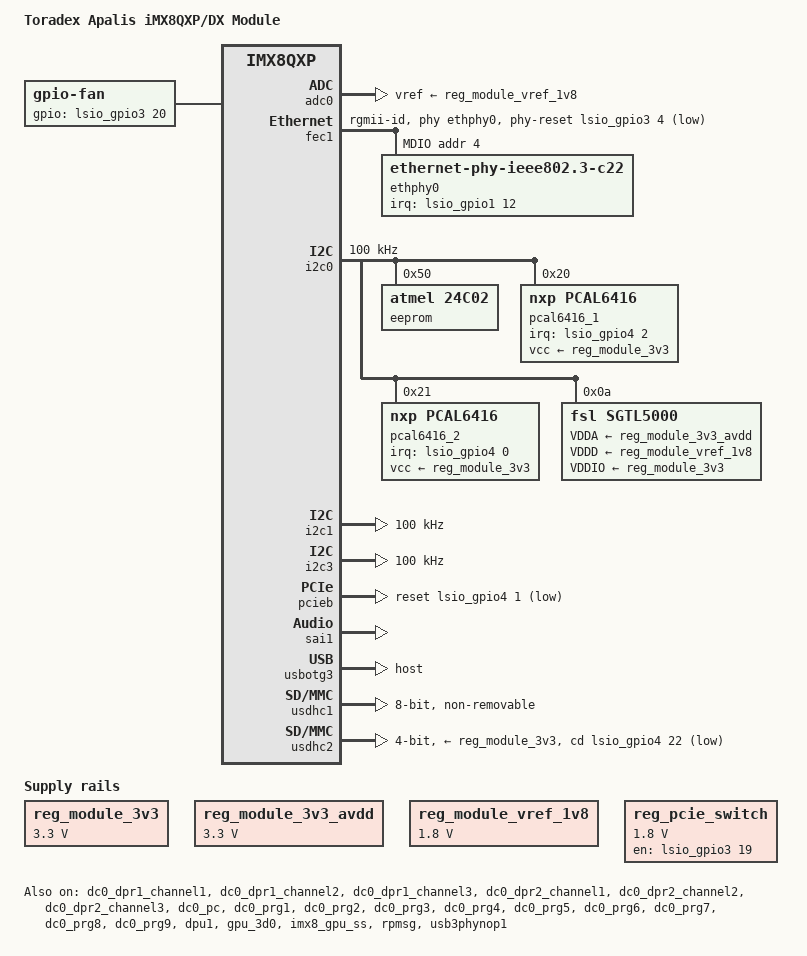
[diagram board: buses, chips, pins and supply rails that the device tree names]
// SPDX-License-Identifier: GPL-2.0+ OR X11
/*
 * Copyright 2018-2019 Toradex
 */

#include <dt-bindings/gpio/gpio.h>
#include "dt-bindings/pwm/pwm.h"
#include "imx8qxp.dtsi"

/ {
	model = "Toradex Apalis iMX8QXP/DX Module";
	compatible = "toradex,apalis-imx8x",
		     "fsl,imx8qxp";

	backlight: backlight {
		compatible = "pwm-backlight";
		pinctrl-names = "default";
		pinctrl-0 = <&pinctrl_gpio_bkl_on>;
		brightness-levels = <0 45 63 88 119 158 203 255>;
		default-brightness-level = <4>;
		enable-gpios = <&lsio_gpio3 13 GPIO_ACTIVE_HIGH>; /* BKL1_ON */
		power-supply = <&reg_module_3v3>;
		pwms = <&pwm_mipi_lvds1 0 6666667 PWM_POLARITY_INVERTED>;
		status = "disabled";
	};

	chosen {
		stdout-path = &lpuart1;
	};

	/* Apalis Parallel RGB */
	display_lcdif: display@disp1 {
		compatible = "fsl,imx-lcdif-mux-display";
		#address-cells = <1>;
		#size-cells = <0>;
		pinctrl-names = "default";
		pinctrl-0 = <&pinctrl_lcdif>;
		clocks = <&clk IMX_SC_R_LCD_0 IMX_SC_PM_CLK_BYPASS>,
			 <&clk IMX_SC_R_LCD_0 IMX_SC_PM_CLK_MISC0>;
		clock-names = "bypass_div", "pixel";
		assigned-clocks = <&clk IMX_SC_R_LCD_0 IMX_SC_PM_CLK_MISC0>;
		assigned-clock-parents = <&clk IMX_SC_R_LCD_0 IMX_SC_PM_CLK_BYPASS>;
		fsl,lcdif-mux-regs = <&lcdif_mux_regs>;
		fsl,interface-pix-fmt = "rgb666";
		power-domains = <&pd IMX_SC_R_LCD_0>;
		status = "disabled";

		port@0 {
			reg = <0>;

			lcd_display_in: endpoint {
				remote-endpoint = <&dpu_disp1_lcdif>;
			};
		};

		port@1 {
			reg = <1>;

			lcd_display_out: endpoint {
				remote-endpoint = <&lcd_panel_in>;
			};
		};
	};

	gpio-fan {
		compatible = "gpio-fan";
		pinctrl-names = "default";
		pinctrl-0 = <&pinctrl_gpio8>;
		gpios = <&lsio_gpio3 20 GPIO_ACTIVE_HIGH>;
		gpio-fan,speed-map = <   0 0
				      3000 1>;
	};

	/* Apalis WAKE1_MICO */
	gpio-keys {
		compatible = "gpio-keys";
		pinctrl-names = "default";
		pinctrl-0 = <&pinctrl_gpio_keys>;
		status = "disabled";

		wakeup_key: wakeup-key {
			label = "Wake-Up";
			gpios = <&lsio_gpio1 26 GPIO_ACTIVE_LOW>;
			linux,code = <KEY_WAKEUP>;
			debounce-interval = <10>;
			wakeup-source;
		};
	};

	imx8x_cm4: imx8x_cm4@0 {
		compatible = "fsl,imx8qxp-cm4";
		rsc-da = <0x90000000>;
		mbox-names = "tx", "rx", "rxdb";
		mboxes = <&lsio_mu5 0 1
			  &lsio_mu5 1 1
			  &lsio_mu5 3 1>;
		mub-partition = <3>;
		memory-region = <&vdev0vring0>, <&vdev0vring1>, <&vdevbuffer>,
				<&vdev1vring0>, <&vdev1vring1>;
		core-index = <0>;
		core-id = <IMX_SC_R_M4_0_PID0>;
		status = "okay";
		power-domains = <&pd IMX_SC_R_M4_0_PID0>,
				<&pd IMX_SC_R_M4_0_MU_1A>;
	};

	panel_dpi: panel-dpi {
		compatible = "panel-dpi";
		backlight = <&backlight>;
		data-mapping = "bgr666";
		power-supply = <&reg_module_3v3>;
		status = "disabled";

		port {
			lcd_panel_in: endpoint {
				remote-endpoint = <&lcd_display_out>;
			};
		};
	};

	panel_lvds: panel-lvds {
		compatible = "panel-lvds";
		backlight = <&backlight>;

		status = "disabled";

		port {
			panel_lvds_in: endpoint {
				remote-endpoint = <&lvds0_out>;
			};
		};
	};

	reg_module_3v3: regulator-module-3v3 {
		compatible = "regulator-fixed";
		regulator-name = "+V3.3";
		regulator-min-microvolt = <3300000>;
		regulator-max-microvolt = <3300000>;
	};

	reg_module_3v3_avdd: regulator-module-3v3-avdd {
		compatible = "regulator-fixed";
		regulator-name = "+V3.3_AVDD_AUDIO";
		regulator-min-microvolt = <3300000>;
		regulator-max-microvolt = <3300000>;
	};

	reg_module_vref_1v8: regulator-module-vref-1v8 {
		compatible = "regulator-fixed";
		regulator-name = "vref-1v8";
		regulator-min-microvolt = <1800000>;
		regulator-max-microvolt = <1800000>;
	};

	reg_pcie_switch: regulator-pcie-switch {
		compatible = "regulator-fixed";
		pinctrl-names = "default";
		pinctrl-0 = <&pinctrl_gpio7>;
		enable-active-high;
		gpio = <&lsio_gpio3 19 GPIO_ACTIVE_HIGH>;
		regulator-name = "pcie_switch";
		regulator-min-microvolt = <1800000>;
		regulator-max-microvolt = <1800000>;
		startup-delay-us = <100000>;
	};

	reserved-memory {
		#address-cells = <2>;
		#size-cells = <2>;
		ranges;

		/*
		 * 0x8800_0000 ~ 0x8FFF_FFFF is reserved for M4
		 * Shouldn't be used at A core and Linux side.
		 *
		 */
		m4_reserved: m4@0x88000000 {
			no-map;
			reg = <0 0x88000000 0 0x8000000>;
		};

		rpmsg_reserved: rpmsg@0x90000000 {
			no-map;
			reg = <0 0x90200000 0 0x200000>;
		};

		decoder_boot: decoder-boot@84000000 {
			reg = <0 0x84000000 0 0x2000000>;
			no-map;
		};

		encoder_boot: encoder-boot@86000000 {
			reg = <0 0x86000000 0 0x200000>;
			no-map;
		};

		decoder_rpc: decoder-rpc@0x92000000 {
			reg = <0 0x92000000 0 0x200000>;
			no-map;
		};

		encoder_rpc: encoder-rpc@0x92200000 {
			reg = <0 0x92200000 0 0x200000>;
			no-map;
		};

		encoder_reserved: encoder_reserved@94400000 {
			no-map;
			reg = <0 0x94400000 0 0x800000>;
		};

		vdev0vring0: vdev0vring0@90000000 {
			compatible = "shared-dma-pool";
			reg = <0 0x90000000 0 0x8000>;
			no-map;
		};

		vdev0vring1: vdev0vring1@90008000 {
			compatible = "shared-dma-pool";
			reg = <0 0x90008000 0 0x8000>;
			no-map;
		};

		vdev1vring0: vdev1vring0@90010000 {
			compatible = "shared-dma-pool";
			reg = <0 0x90010000 0 0x8000>;
			no-map;
		};

		vdev1vring1: vdev1vring1@90018000 {
			compatible = "shared-dma-pool";
			reg = <0 0x90018000 0 0x8000>;
			no-map;
		};

		vdevbuffer: vdevbuffer {
			compatible = "shared-dma-pool";
			reg = <0 0x90400000 0 0x100000>;
			no-map;
		};
	};

	sound_card: sound-card {
		compatible = "simple-audio-card";
		simple-audio-card,bitclock-master = <&dailink_master>;
		simple-audio-card,format = "i2s";
		simple-audio-card,frame-master = <&dailink_master>;
		simple-audio-card,name = "imx8qxp-sgtl5000";

		dailink_master: simple-audio-card,codec {
			clocks = <&mclkout0_lpcg 0>;
			sound-dai = <&sgtl5000>;
		};

		simple-audio-card,cpu {
			sound-dai = <&sai1>;
		};
	};
};

/* Apalis AN1_ADC */
&adc0 {
	pinctrl-names = "default";
	pinctrl-0 = <&pinctrl_adc0>;
	vref-supply = <&reg_module_vref_1v8>;
};

&adma_lcdif {
	pinctrl-names = "default";
	pinctrl-0 = <&pinctrl_lcdif>;
	status = "disabled";
};

/* Display Prefetch Resolve, (Tiling) */
&dc0_dpr1_channel1 {
	status = "okay";
};

&dc0_dpr1_channel2 {
	status = "okay";
};

&dc0_dpr1_channel3 {
	status = "okay";
};

&dc0_dpr2_channel1 {
	status = "okay";
};

&dc0_dpr2_channel2 {
	status = "okay";
};

&dc0_dpr2_channel3 {
	status = "okay";
};

&dc0_pc {
	status = "okay";
};

&dc0_prg1 {
	status = "okay";
};

&dc0_prg2 {
	status = "okay";
};

&dc0_prg3 {
	status = "okay";
};

&dc0_prg4 {
	status = "okay";
};

&dc0_prg5 {
	status = "okay";
};

&dc0_prg6 {
	status = "okay";
};

&dc0_prg7 {
	status = "okay";
};

&dc0_prg8 {
	status = "okay";
};

&dc0_prg9 {
	status = "okay";
};

&dpu1 {
	status = "okay";
};

&dpu_disp1_lcdif {
	remote-endpoint = <&lcd_display_in>;
};

/* Apalis Gigabit Ethernet */
&fec1 {
	pinctrl-names = "default";
	pinctrl-0 = <&pinctrl_fec1>;
	fsl,magic-packet;
	phy-handle = <&ethphy0>;
	phy-mode = "rgmii-id";
	phy-reset-duration = <10>;
	phy-reset-gpios = <&lsio_gpio3 4 GPIO_ACTIVE_LOW>;

	mdio {
		#address-cells = <1>;
		#size-cells = <0>;

		ethphy0: ethernet-phy@4 {
			compatible = "ethernet-phy-ieee802.3-c22";
			interrupt-parent = <&lsio_gpio1>;
			interrupts = <12 IRQ_TYPE_LEVEL_LOW>;
			micrel,led-mode = <0>;
			reg = <4>;
		};
	};
};

/* Apalis CAN1 */
&flexcan2 {
	/* define the following property to disable CAN-FD mode */
	/* disable-fd-mode; */
	pinctrl-names = "default";
	pinctrl-0 = <&pinctrl_flexcan2>;
};

/* Apalis CAN2 */
&flexcan3 {
	/* define the following property to disable CAN-FD mode */
	/* disable-fd-mode; */
	pinctrl-names = "default";
	pinctrl-0 = <&pinctrl_flexcan3>;
};

&gpu_3d0 {
	status = "okay";
};

&hsio_refa_clk {
	status = "disabled";
};

&hsio_refb_clk {
	status = "disabled";
};

/* On-module I2C */
&i2c0 {
	#address-cells = <1>;
	#size-cells = <0>;
	pinctrl-names = "default";
	pinctrl-0 = <&pinctrl_lpi2c0>;
	clock-frequency = <100000>;
	status = "okay";

	/* On-Module Resistive Touch Controller */
	ad7879_ts: touchscreen@2c {
		compatible = "adi,ad7879-1";
		pinctrl-names = "default";
		pinctrl-0 = <&pinctrl_ad7879_int>;
		reg = <0x2c>;
		interrupt-parent = <&lsio_gpio3>;
		interrupts = <5 IRQ_TYPE_EDGE_FALLING>;
		touchscreen-max-pressure = <4096>;
		adi,resistance-plate-x = <120>;
		adi,first-conversion-delay = /bits/ 8 <3>;
		adi,acquisition-time = /bits/ 8 <1>;
		adi,median-filter-size = /bits/ 8 <2>;
		adi,averaging = /bits/ 8 <1>;
		adi,conversion-interval = /bits/ 8 <255>;
		status = "disabled";
	};

	/* On-Module EEPROM */
	eeprom: eeprom@50 {
		compatible = "atmel,24c02";
		reg = <0x50>;
		pagesize = <16>;
	};

	lt8912_hdmi: dsi-hdmi@48 {
		compatible = "lontium,lt8912";
		pinctrl-names = "default";
		pinctrl-0 = <&pinctrl_hdmi_int>;
		ddc-i2c-bus = <&i2c0_mipi_lvds1>;
		hpd-gpios = <&pcal6416_1 15 GPIO_ACTIVE_HIGH>;
		reg = <0x48>;
		status = "disabled";
	};

	/* PCAL6416A GPIO Expander */
	pcal6416_1: gpio@20 {
		compatible = "nxp,pcal6416";
		pinctrl-names = "default";
		pinctrl-0 = <&pinctrl_i2c_exp1_int>;
		reg = <0x20>;
		gpio-controller;
		#gpio-cells = <2>;
		interrupt-controller;
		#interrupt-cells = <2>;
		interrupt-parent = <&lsio_gpio4>;
		interrupts = <2 IRQ_TYPE_LEVEL_LOW>;
		vcc-supply = <&reg_module_3v3>;
		ngpios = <16>;
		gpio-line-names = "HDMI1_CEC", "SPDIF1_IN", "SPDIF1_OUT",
			"UART4_TXD", "UART1_DCD", "UART1_RI", "UART1_DSR",
			"UART1_DTR", "PWM1", "Wi-Fi_WKUP_WLAN",
			"Wi-Fi_W_DISABLE", "Wi-Fi_WKUP_BT", "Wi-Fi_PDn",
			"Wi-Fi_WKUP_HOST", "DSI_SW_SEL", "HDMI1_HPD";
	};

	/* PCAL6416A GPIO Expander */
	pcal6416_2: gpio@21 {
		compatible = "nxp,pcal6416";
		pinctrl-names = "default";
		pinctrl-0 = <&pinctrl_i2c_exp2_int>;
		reg = <0x21>;
		gpio-controller;
		#gpio-cells = <2>;
		interrupt-parent = <&lsio_gpio4>;
		interrupts = <0 IRQ_TYPE_LEVEL_LOW>;
		vcc-supply = <&reg_module_3v3>;
	};

	sgtl5000: codec@a {
		compatible = "fsl,sgtl5000";
		pinctrl-names = "default";
		pinctrl-0 = <&pinctrl_sgtl5000>;
		#sound-dai-cells = <0>;
		assigned-clocks = <&clk IMX_SC_R_AUDIO_PLL_0 IMX_SC_PM_CLK_PLL>,
				<&clk IMX_SC_R_AUDIO_PLL_0 IMX_SC_PM_CLK_SLV_BUS>,
				<&clk IMX_SC_R_AUDIO_PLL_0 IMX_SC_PM_CLK_MST_BUS>,
				<&mclkout0_lpcg 0>;
		assigned-clock-rates = <786432000>, <49152000>, <12288000>, <12288000>;
		clocks = <&mclkout0_lpcg 0>;
		clock-names = "mclk";
		reg = <0x0a>;
		VDDA-supply = <&reg_module_3v3_avdd>;
		VDDD-supply = <&reg_module_vref_1v8>;
		VDDIO-supply = <&reg_module_3v3>;
	};
};

/* Apalis I2C2 (DDC) */
&i2c0_mipi_lvds1 {
	#address-cells = <1>;
	#size-cells = <0>;
	pinctrl-names = "default";
	pinctrl-0 = <&pinctrl_i2c0_mipi_lvds1>;
	clock-frequency = <100000>;
	status = "disabled";
};

/* Apalis I2C1 */
&i2c1 {
	#address-cells = <1>;
	#size-cells = <0>;
	pinctrl-names = "default";
	pinctrl-0 = <&pinctrl_lpi2c1>;
	clock-frequency = <100000>;

	/* Atmel maxtouch controller */
	atmel_mxt_ts: touchscreen@4a {
		compatible = "atmel,maxtouch";
		pinctrl-names = "default";
		pinctrl-0 = <&pinctrl_gpio5>, <&pinctrl_gpio6>;
		reg = <0x4a>;
		interrupt-parent = <&lsio_gpio3>;
		interrupts = <17 IRQ_TYPE_EDGE_FALLING>;		/* Apalis GPIO5 */
		reset-gpios = <&lsio_gpio3 18 GPIO_ACTIVE_HIGH>;	/* Apalis GPIO6 */
		status = "disabled";
	};
};

/* Apalis I2C3 (CAM) */
&i2c3 {
	#address-cells = <1>;
	#size-cells = <0>;
	pinctrl-names = "default";
	pinctrl-0 = <&pinctrl_lpi2c3>;
	clock-frequency = <100000>;
};

&imx8_gpu_ss {
	status = "okay";
};

&iomuxc {
	pinctrl-names = "default";
	pinctrl-0 = <&pinctrl_dap1_gpios>,
		    <&pinctrl_gpio3>, <&pinctrl_gpio4>, <&pinctrl_gpio5>,
		    <&pinctrl_gpio6>, <&pinctrl_mmc1_gpios>,
		    <&pinctrl_qspi0a_gpios>, <&pinctrl_sata1_act>,
		    <&pinctrl_usbh_oc_n>, <&pinctrl_usbo1oc>,
		    <&pinctrl_wifi_sclk>;

	apalis-imx8qxp {
		/* On-module touch pen-down interrupt */
		pinctrl_ad7879_int: ad7879-int {
			fsl,pins = <
				IMX8QXP_MIPI_CSI0_I2C0_SCL_LSIO_GPIO3_IO05	0x21	/* TOUCH_PEN_IRQ */
			>;
		};

		/* Apalis AN1_ADC */
		pinctrl_adc0: adc0grp {
			fsl,pins = <
				/* Apalis AN1_ADC0 */
				IMX8QXP_ADC_IN0_ADMA_ADC_IN0			0x60		/* MXM3 305 */
				/* Apalis AN1_ADC1 */
				IMX8QXP_ADC_IN1_ADMA_ADC_IN1			0x60		/* MXM3 307 */
				/* Apalis AN1_ADC2 */
				IMX8QXP_ADC_IN4_ADMA_ADC_IN4			0x60		/* MXM3 309 */
				/* Apalis AN1_TSWIP_ADC3 */
				IMX8QXP_ADC_IN5_ADMA_ADC_IN5			0x60		/* MXM3 311 */
			>;
		};

		/* Apalis BKL1_ON */
		pinctrl_gpio_bkl_on: gpio-bkl-on {
			fsl,pins = <
				IMX8QXP_QSPI0A_DQS_LSIO_GPIO3_IO13		0x21		/* MXM3 286 */
			>;
		};

		/* Apalis BKL1_PWM */
		pinctrl_pwm_mipi_lvds1: pwmmipilvds1grp {
			fsl,pins = <
				IMX8QXP_MIPI_DSI1_GPIO0_00_MIPI_DSI1_PWM0_OUT	0x60		/* MXM3 239 */
			>;
		};

		/* Apalis CAN1 */
		pinctrl_flexcan2: flexcan2grp {
			fsl,pins = <
				IMX8QXP_FLEXCAN1_TX_ADMA_FLEXCAN1_TX		0x21		/* MXM3 14 */
				IMX8QXP_FLEXCAN1_RX_ADMA_FLEXCAN1_RX		0x21		/* MXM3 12 */
			>;
		};

		/* Apalis CAN2 */
		pinctrl_flexcan3: flexcan3grp {
			fsl,pins = <
				IMX8QXP_FLEXCAN2_TX_ADMA_FLEXCAN2_TX		0x21		/* MXM3 18 */
				IMX8QXP_FLEXCAN2_RX_ADMA_FLEXCAN2_RX		0x21		/* MXM3 16 */
			>;
		};

		/* Apalis DAP1 */
		pinctrl_dap1_gpios: dap1gpiosgrp {
			fsl,pins = <
				/* Apalis DAP1_D_OUT */
				IMX8QXP_SAI0_TXD_LSIO_GPIO0_IO25		0x21		/* MXM3 196 */
				/* Apalis DAP1_RESET */
				IMX8QXP_QSPI0A_SS1_B_LSIO_GPIO3_IO15		0x21		/* MXM3 198 */
				/* Apalis DAP1_BIT_CLK */
				IMX8QXP_SAI0_TXC_LSIO_GPIO0_IO26		0x21		/* MXM3 200 */
				/* Apalis DAP1_D_IN */
				IMX8QXP_SAI0_RXD_LSIO_GPIO0_IO27		0x21		/* MXM3 202 */
				/* Apalis DAP1_SYNC */
				IMX8QXP_SAI0_TXFS_LSIO_GPIO0_IO28		0x21		/* MXM3 204 */
			>;
		};

		/* Apalis GPIO1 */
		pinctrl_gpio1: gpio1grp {
			fsl,pins = <
				IMX8QXP_QSPI0B_DATA3_LSIO_GPIO3_IO21		0x21		/* MXM3 1 */
			>;
		};

		/* Apalis GPIO2 */
		pinctrl_gpio2: gpio2grp {
			fsl,pins = <
				IMX8QXP_QSPI0B_DQS_LSIO_GPIO3_IO22		0x21		/* MXM3 3 */
			>;
		};

		/* Apalis GPIO3 */
		pinctrl_gpio3: gpio3grp {
			fsl,pins = <
				IMX8QXP_QSPI0B_SS0_B_LSIO_GPIO3_IO23		0x21		/* MXM3 5 */
			>;
		};

		/* Apalis GPIO4 */
		pinctrl_gpio4: gpio4grp {
			fsl,pins = <
				IMX8QXP_QSPI0B_SS1_B_LSIO_GPIO3_IO24		0x21		/* MXM3 7 */
			>;
		};

		/* Apalis GPIO5 */
		pinctrl_gpio5: gpio5grp {
			fsl,pins = <
				IMX8QXP_QSPI0B_SCLK_LSIO_GPIO3_IO17		0x21		/* MXM3 11 */
			>;
		};

		/* Apalis GPIO6 */
		pinctrl_gpio6: gpio6grp {
			fsl,pins = <
				IMX8QXP_QSPI0B_DATA0_LSIO_GPIO3_IO18		0x21		/* MXM3 13 */
			>;
		};

		/* Apalis GPIO7 */
		pinctrl_gpio7: gpio7grp {
			fsl,pins = <
				IMX8QXP_QSPI0B_DATA1_LSIO_GPIO3_IO19		0x21		/* MXM3 15 */
			>;
		};

		/* Apalis GPIO8 */
		pinctrl_gpio8: gpio8grp {
			fsl,pins = <
				IMX8QXP_QSPI0B_DATA2_LSIO_GPIO3_IO20		0x21		/* MXM3 17 */
			>;
		};

		/* HDMI Bridge Interrupt */
		pinctrl_hdmi_int: hdmibridgeintgrp {
			fsl,pins = <
				IMX8QXP_MIPI_CSI0_I2C0_SDA_LSIO_GPIO3_IO06	0x21		/* HDMI_BRIDGE_INT# */
			>;
		};

		/* Apalis I2C1 */
		pinctrl_lpi2c1: lpi2c1grp {
			fsl,pins = <
				IMX8QXP_USB_SS3_TC0_ADMA_I2C1_SCL		0x06000021	/* MXM3 211 */
				IMX8QXP_USB_SS3_TC3_ADMA_I2C1_SDA		0x06000021	/* MXM3 209 */
			>;
		};

		/* Apalis I2C2 (DDC) */
		pinctrl_i2c0_mipi_lvds1: mipilvds1i2c0grp {
			fsl,pins = <
				IMX8QXP_MIPI_DSI1_I2C0_SCL_MIPI_DSI1_I2C0_SCL	0xc6000020	/* MXM3 205 */
				IMX8QXP_MIPI_DSI1_I2C0_SDA_MIPI_DSI1_I2C0_SDA	0xc6000020	/* MXM3 207 */
			>;
		};

		/* Apalis I2C3 (CAM) */
		pinctrl_lpi2c3: lpi2c3grp {
			fsl,pins = <
				IMX8QXP_CSI_EN_ADMA_I2C3_SCL			0xc6000020	/* MXM3 203 */
				IMX8QXP_CSI_RESET_ADMA_I2C3_SDA			0xc6000020	/* MXM3 201 */
			>;
		};

		/* Apalis MMC1_ */
		pinctrl_mmc1_gpios: mmc1gpiosgrp {
			fsl,pins = <
				IMX8QXP_QSPI0A_DATA1_LSIO_GPIO3_IO10		0x21		/* MXM3 148 */
				IMX8QXP_QSPI0A_SS0_B_LSIO_GPIO3_IO14		0x21		/* MXM3 158 */
				IMX8QXP_USDHC1_WP_LSIO_GPIO4_IO21		0x21		/* MXM3 156 */
				IMX8QXP_USDHC1_RESET_B_LSIO_GPIO4_IO19		0x21		/* MXM3 152 */
			>;
		};

		/* Apalis MMC1_CD# */
		pinctrl_usdhc2_gpio: mmc1gpiogrp {
			fsl,pins = <
				IMX8QXP_USDHC1_CD_B_LSIO_GPIO4_IO22		0x06000021	/* MXM3 164 */
			>;
		};

		pinctrl_usdhc2_gpio_sleep: usdhc1gpioslpgrp {
			fsl,pins = <
				IMX8QXP_USDHC1_CD_B_LSIO_GPIO4_IO22		0x60		/* MXM3 164 */
			>;
		};

		/* Apalis MMC1 */
		pinctrl_usdhc2: usdhc2grp {
			fsl,pins = <
				IMX8QXP_USDHC1_CLK_CONN_USDHC1_CLK		0x06000041	/* MXM3 154 */
				IMX8QXP_USDHC1_CMD_CONN_USDHC1_CMD		0x21		/* MXM3 150 */
				IMX8QXP_USDHC1_DATA0_CONN_USDHC1_DATA0		0x21		/* MXM3 160 */
				IMX8QXP_USDHC1_DATA1_CONN_USDHC1_DATA1		0x21		/* MXM3 162 */
				IMX8QXP_USDHC1_DATA2_CONN_USDHC1_DATA2		0x21		/* MXM3 144 */
				IMX8QXP_USDHC1_DATA3_CONN_USDHC1_DATA3		0x21		/* MXM3 146 */
				IMX8QXP_USDHC1_VSELECT_CONN_USDHC1_VSELECT	0x21
			>;
		};

		pinctrl_usdhc2_100mhz: usdhc2grp100mhz {
			fsl,pins = <
				IMX8QXP_USDHC1_CLK_CONN_USDHC1_CLK		0x06000041	/* MXM3 154 */
				IMX8QXP_USDHC1_CMD_CONN_USDHC1_CMD		0x21		/* MXM3 150 */
				IMX8QXP_USDHC1_DATA0_CONN_USDHC1_DATA0		0x21		/* MXM3 160 */
				IMX8QXP_USDHC1_DATA1_CONN_USDHC1_DATA1		0x21		/* MXM3 162 */
				IMX8QXP_USDHC1_DATA2_CONN_USDHC1_DATA2		0x21		/* MXM3 144 */
				IMX8QXP_USDHC1_DATA3_CONN_USDHC1_DATA3		0x21		/* MXM3 146 */
				IMX8QXP_USDHC1_VSELECT_CONN_USDHC1_VSELECT	0x21
			>;
		};

		pinctrl_usdhc2_200mhz: usdhc2grp200mhz {
			fsl,pins = <
				IMX8QXP_USDHC1_CLK_CONN_USDHC1_CLK		0x06000041	/* MXM3 154 */
				IMX8QXP_USDHC1_CMD_CONN_USDHC1_CMD		0x21		/* MXM3 150 */
				IMX8QXP_USDHC1_DATA0_CONN_USDHC1_DATA0		0x21		/* MXM3 160 */
				IMX8QXP_USDHC1_DATA1_CONN_USDHC1_DATA1		0x21		/* MXM3 162 */
				IMX8QXP_USDHC1_DATA2_CONN_USDHC1_DATA2		0x21		/* MXM3 144 */
				IMX8QXP_USDHC1_DATA3_CONN_USDHC1_DATA3		0x21		/* MXM3 146 */
				IMX8QXP_USDHC1_VSELECT_CONN_USDHC1_VSELECT	0x21
			>;
		};

		pinctrl_usdhc2_sleep: usdhc2slpgrp {
			fsl,pins = <
				IMX8QXP_USDHC1_CLK_LSIO_GPIO4_IO23		0x60		/* MXM3 154 */
				IMX8QXP_USDHC1_CMD_LSIO_GPIO4_IO24		0x60		/* MXM3 150 */
				IMX8QXP_USDHC1_DATA0_LSIO_GPIO4_IO25		0x60		/* MXM3 160 */
				IMX8QXP_USDHC1_DATA1_LSIO_GPIO4_IO26		0x60		/* MXM3 162 */
				IMX8QXP_USDHC1_DATA2_LSIO_GPIO4_IO27		0x60		/* MXM3 144 */
				IMX8QXP_USDHC1_DATA3_LSIO_GPIO4_IO28		0x60		/* MXM3 146 */
				IMX8QXP_USDHC1_VSELECT_CONN_USDHC1_VSELECT	0x21
			>;
		};

		/* Apalis Parallel Camera */
		pinctrl_parallel_csi: parallelcsigrp {
			fsl,pins = <
				IMX8QXP_CSI_D00_CI_PI_D02			0xC0000041	/* MXM3 187 */
				IMX8QXP_CSI_D01_CI_PI_D03			0xC0000041	/* MXM3 185 */
				IMX8QXP_CSI_D02_CI_PI_D04			0xC0000041	/* MXM3 183 */
				IMX8QXP_CSI_D03_CI_PI_D05			0xC0000041	/* MXM3 181 */
				IMX8QXP_CSI_D04_CI_PI_D06			0xC0000041	/* MXM3 179 */
				IMX8QXP_CSI_D05_CI_PI_D07			0xC0000041	/* MXM3 177 */
				IMX8QXP_CSI_D06_CI_PI_D08			0xC0000041	/* MXM3 175 */
				IMX8QXP_CSI_D07_CI_PI_D09			0xC0000041	/* MXM3 173 */
				IMX8QXP_CSI_MCLK_CI_PI_MCLK			0xC0000041	/* MXM3 193 */
				IMX8QXP_CSI_PCLK_CI_PI_PCLK			0xC0000041	/* MXM3 191 */
				IMX8QXP_CSI_HSYNC_CI_PI_HSYNC			0xC0000041	/* MXM3 197 */
				IMX8QXP_CSI_VSYNC_CI_PI_VSYNC			0xC0000041	/* MXM3 195 */
			>;
		};

		/* Apalis Parallel RGB LCD Interface */
		pinctrl_hog0: hog0grp {
			fsl,pins = <
				IMX8QXP_COMP_CTL_GPIO_1V8_3V3_GPIORHB_PAD	0x000514a0 /* Use pads in 3.3V mode */
			>;
		};

		pinctrl_lcdif: lcdif-pins {
			fsl,pins = <
				IMX8QXP_MCLK_OUT0_ADMA_LCDIF_CLK		0x60		/* MXM3 243 */
				IMX8QXP_MCLK_IN0_ADMA_LCDIF_VSYNC		0x60		/* MXM3 245 */
				IMX8QXP_SPI3_CS0_ADMA_LCDIF_HSYNC		0x60		/* MXM3 247 */
				IMX8QXP_MCLK_IN1_ADMA_LCDIF_EN			0x60		/* MXM3 249 */
				IMX8QXP_SPDIF0_EXT_CLK_ADMA_LCDIF_D12		0x60		/* MXM3 255 */
				IMX8QXP_SPI3_SCK_ADMA_LCDIF_D13			0x60		/* MXM3 257 */
				IMX8QXP_SPI3_SDO_ADMA_LCDIF_D14			0x60		/* MXM3 259 */
				IMX8QXP_SPI3_SDI_ADMA_LCDIF_D15			0x60		/* MXM3 261 */
				IMX8QXP_SPI3_CS1_ADMA_LCDIF_D16			0x60		/* MXM3 263 */
				IMX8QXP_UART1_CTS_B_ADMA_LCDIF_D17		0x60		/* MXM3 265 */
				IMX8QXP_ESAI0_TX2_RX3_ADMA_LCDIF_D06		0x60		/* MXM3 273 */
				IMX8QXP_ESAI0_TX3_RX2_ADMA_LCDIF_D07		0x60		/* MXM3 275 */
				IMX8QXP_ESAI0_TX4_RX1_ADMA_LCDIF_D08		0x60		/* MXM3 277 */
				IMX8QXP_ESAI0_TX5_RX0_ADMA_LCDIF_D09		0x60		/* MXM3 279 */
				IMX8QXP_SPDIF0_RX_ADMA_LCDIF_D10		0x60		/* MXM3 281 */
				IMX8QXP_SPDIF0_TX_ADMA_LCDIF_D11		0x60		/* MXM3 283 */
				IMX8QXP_ESAI0_FSR_ADMA_LCDIF_D00		0x60		/* MXM3 291 */
				IMX8QXP_ESAI0_FST_ADMA_LCDIF_D01		0x60		/* MXM3 293 */
				IMX8QXP_ESAI0_SCKR_ADMA_LCDIF_D02		0x60		/* MXM3 295 */
				IMX8QXP_ESAI0_SCKT_ADMA_LCDIF_D03		0x60		/* MXM3 297 */
				IMX8QXP_ESAI0_TX0_ADMA_LCDIF_D04		0x60		/* MXM3 299 */
				IMX8QXP_ESAI0_TX1_ADMA_LCDIF_D05		0x60		/* MXM3 301 */
			>;
		};

		/* Apalis PWM1 */
		pinctrl_pwm2: pwm2grp {
			fsl,pins = <
				IMX8QXP_UART1_RTS_B_LSIO_PWM2_OUT		0x60		/* MXM3 2 */
			>;
		};

		/* Apalis PWM2 */
		pinctrl_pwm_mipi_lvds0: pwmmipilvds0grp {
			fsl,pins = <
				IMX8QXP_MIPI_DSI0_GPIO0_00_MIPI_DSI0_PWM0_OUT	0x60		/* MXM3 4 */
			>;
		};

		/* Apalis PWM_ */
		pinctrl_pwm_gpios: gpiospwmgrp {
			fsl,pins = <
				IMX8QXP_MIPI_DSI0_GPIO0_01_LSIO_GPIO1_IO28	0x21		/* MXM3 6 */
				IMX8QXP_MIPI_DSI1_GPIO0_01_LSIO_GPIO2_IO00	0x21		/* MXM3 8 */
			>;
		};

		/* Apalis SATA1_ACT# */
		pinctrl_sata1_act: sata1actgrp {
			fsl,pins = <
				IMX8QXP_MIPI_DSI0_I2C0_SCL_LSIO_GPIO1_IO25	0x21		/* MXM3 35 */
			>;
		};

		/* Apalis SPI1 */
		pinctrl_lpspi0: lpspi0grp {
			fsl,pins = <
				IMX8QXP_SPI0_CS0_LSIO_GPIO1_IO08		0x06000040	/* MXM3 227 */
				IMX8QXP_SPI0_SDI_ADMA_SPI0_SDI			0x06000040	/* MXM3 223 */
				IMX8QXP_SPI0_SDO_ADMA_SPI0_SDO			0x06000040	/* MXM3 225 */
				IMX8QXP_SPI0_SCK_ADMA_SPI0_SCK			0x06000040	/* MXM3 221 */
			>;
		};

		/* Apalis SPI2 */
		pinctrl_lpspi2: lpspi2grp {
			fsl,pins = <
				IMX8QXP_SPI2_CS0_LSIO_GPIO1_IO00		0x21		/* MXM3 233 */
				IMX8QXP_SPI2_SDI_ADMA_SPI2_SDI			0x06000040	/* MXM3 229 */
				IMX8QXP_SPI2_SDO_ADMA_SPI2_SDO			0x06000040	/* MXM3 231 */
				IMX8QXP_SPI2_SCK_ADMA_SPI2_SCK			0x06000040	/* MXM3 235 */
			>;
		};

		/* Apalis UART1 */
		pinctrl_lpuart1: lpuart1grp {
			fsl,pins = <
				IMX8QXP_UART1_RX_ADMA_UART1_RX			0x06000020	/* MXM3 118 */
				IMX8QXP_UART1_TX_ADMA_UART1_TX			0x06000020	/* MXM3 112 */
			>;
		};

		/* Apalis UART1_ */
		pinctrl_qspi0a_gpios: qspi0agpiosgrp {
			fsl,pins = <
				IMX8QXP_QSPI0A_DATA2_LSIO_GPIO3_IO11		0x21		/* MXM3 114 */
				IMX8QXP_QSPI0A_DATA3_LSIO_GPIO3_IO12		0x21		/* MXM3 116 */
			>;
		};

		/* Apalis UART2 */
		pinctrl_lpuart0: lpuart0grp {
			fsl,pins = <
				IMX8QXP_UART0_TX_ADMA_UART0_TX			0x06000020	/* MXM3 126 */
				IMX8QXP_UART0_RX_ADMA_UART0_RX			0x06000020	/* MXM3 132 */
				IMX8QXP_FLEXCAN0_RX_ADMA_UART0_RTS_B		0x06000020	/* MXM3 128 */
				IMX8QXP_FLEXCAN0_TX_ADMA_UART0_CTS_B		0x06000020	/* MXM3 130 */
			>;
		};

		/* Apalis UART3 */
		pinctrl_lpuart2: lpuart2grp {
			fsl,pins = <
				IMX8QXP_UART2_TX_ADMA_UART2_TX			0x06000020	/* MXM3 134 */
				IMX8QXP_UART2_RX_ADMA_UART2_RX			0x06000020	/* MXM3 136 */
			>;
		};

		/* Apalis UART4 */
		pinctrl_lpuart3: lpuart3grp {
			fsl,pins = <
				IMX8QXP_SCU_GPIO0_01_ADMA_UART3_TX		0x06000020	/* MXM3 138 */
				IMX8QXP_SCU_GPIO0_00_ADMA_UART3_RX		0x06000020	/* MXM3 140 */
			>;
		};

		/* Apalis USBH_EN */
		pinctrl_usbh_en: usbhen {
			fsl,pins = <
				IMX8QXP_USB_SS3_TC1_LSIO_GPIO4_IO04		0x21		/* MXM3 84 */
			>;
		};

		/* Apalis USBH_OC# */
		pinctrl_usbh_oc_n: gpiousbhocn {
			fsl,pins = <
				IMX8QXP_QSPI0A_DATA0_LSIO_GPIO3_IO09		0x04000020	/* MXM3 96 */
			>;
		};

		/* Apalis USBO1_EN */
		pinctrl_usbo1_en: usbo1en {
			fsl,pins = <
				/* Apalis USBO1_EN */
				IMX8QXP_QSPI0A_SCLK_LSIO_GPIO3_IO16		0x21		/* MXM3 274 */
			>;
		};

		/* Apalis USBO1 */
		pinctrl_usbo1oc: usbo1oc {
			fsl,pins = <
				/* Apalis USBO1_OC# */
				IMX8QXP_USB_SS3_TC2_CONN_USB_OTG1_OC		0x04000020	/* MXM3 262 */
			>;
		};

		/* Apalis WAKE1_MICO */
		pinctrl_gpio_keys: gpio-keys {
			fsl,pins = <
				IMX8QXP_MIPI_DSI0_I2C0_SDA_LSIO_GPIO1_IO26	0x06680021	/* MXM3 37 */
			>;
		};

		/* On-module Gigabit Ethernet PHY Micrel KSZ9031 */
		pinctrl_fec1: fec1grp {
			fsl,pins = <
				IMX8QXP_COMP_CTL_GPIO_1V8_3V3_ENET_ENETB0_PAD	0x14a0 /* Use pads in 3.3V mode */
				IMX8QXP_COMP_CTL_GPIO_1V8_3V3_ENET_ENETB1_PAD	0x14a0 /* Use pads in 3.3V mode */
				IMX8QXP_ENET0_MDC_CONN_ENET0_MDC		0x06000020
				IMX8QXP_ENET0_MDIO_CONN_ENET0_MDIO		0x06000020
				IMX8QXP_ENET0_RGMII_TX_CTL_CONN_ENET0_RGMII_TX_CTL	0x61
				IMX8QXP_ENET0_RGMII_TXC_CONN_ENET0_RGMII_TXC	0x61
				IMX8QXP_ENET0_RGMII_TXD0_CONN_ENET0_RGMII_TXD0	0x61
				IMX8QXP_ENET0_RGMII_TXD1_CONN_ENET0_RGMII_TXD1	0x61
				IMX8QXP_ENET0_RGMII_TXD2_CONN_ENET0_RGMII_TXD2	0x61
				IMX8QXP_ENET0_RGMII_TXD3_CONN_ENET0_RGMII_TXD3	0x61
				IMX8QXP_ENET0_RGMII_RXC_CONN_ENET0_RGMII_RXC	0x61
				IMX8QXP_ENET0_RGMII_RX_CTL_CONN_ENET0_RGMII_RX_CTL	0x61
				IMX8QXP_ENET0_RGMII_RXD0_CONN_ENET0_RGMII_RXD0	0x61
				IMX8QXP_ENET0_RGMII_RXD1_CONN_ENET0_RGMII_RXD1	0x61
				IMX8QXP_ENET0_RGMII_RXD2_CONN_ENET0_RGMII_RXD2	0x61
				IMX8QXP_ENET0_RGMII_RXD3_CONN_ENET0_RGMII_RXD3	0x61
				/* On-module ETH_RESET# */
				IMX8QXP_MIPI_CSI0_MCLK_OUT_LSIO_GPIO3_IO04	0x21
				/* On-module ETH_INT# */
				IMX8QXP_ADC_IN2_LSIO_GPIO1_IO12			0x21
			>;
		};

		/* On-module GPIO expanders */
		pinctrl_i2c_exp1_int: i2cexp1int {
			fsl,pins = <
				IMX8QXP_PCIE_CTRL0_WAKE_B_LSIO_GPIO4_IO02	0x21
			>;
		};

		pinctrl_i2c_exp2_int: i2cexp2int {
			fsl,pins = <
				IMX8QXP_PCIE_CTRL0_PERST_B_LSIO_GPIO4_IO00	0x21
			>;
		};

		/* On-module eMMC */
		pinctrl_usdhc1: usdhc1grp {
			fsl,pins = <
				IMX8QXP_EMMC0_CLK_CONN_EMMC0_CLK		0x06000041
				IMX8QXP_EMMC0_CMD_CONN_EMMC0_CMD		0x21
				IMX8QXP_EMMC0_DATA0_CONN_EMMC0_DATA0		0x21
				IMX8QXP_EMMC0_DATA1_CONN_EMMC0_DATA1		0x21
				IMX8QXP_EMMC0_DATA2_CONN_EMMC0_DATA2		0x21
				IMX8QXP_EMMC0_DATA3_CONN_EMMC0_DATA3		0x21
				IMX8QXP_EMMC0_DATA4_CONN_EMMC0_DATA4		0x21
				IMX8QXP_EMMC0_DATA5_CONN_EMMC0_DATA5		0x21
				IMX8QXP_EMMC0_DATA6_CONN_EMMC0_DATA6		0x21
				IMX8QXP_EMMC0_DATA7_CONN_EMMC0_DATA7		0x21
				IMX8QXP_EMMC0_STROBE_CONN_EMMC0_STROBE		0x41
				IMX8QXP_EMMC0_RESET_B_CONN_EMMC0_RESET_B	0x21
			>;
		};

		pinctrl_usdhc1_100mhz: usdhc1grp100mhz {
			fsl,pins = <
				IMX8QXP_EMMC0_CLK_CONN_EMMC0_CLK		0x06000041
				IMX8QXP_EMMC0_CMD_CONN_EMMC0_CMD		0x21
				IMX8QXP_EMMC0_DATA0_CONN_EMMC0_DATA0		0x21
				IMX8QXP_EMMC0_DATA1_CONN_EMMC0_DATA1		0x21
				IMX8QXP_EMMC0_DATA2_CONN_EMMC0_DATA2		0x21
				IMX8QXP_EMMC0_DATA3_CONN_EMMC0_DATA3		0x21
				IMX8QXP_EMMC0_DATA4_CONN_EMMC0_DATA4		0x21
				IMX8QXP_EMMC0_DATA5_CONN_EMMC0_DATA5		0x21
				IMX8QXP_EMMC0_DATA6_CONN_EMMC0_DATA6		0x21
				IMX8QXP_EMMC0_DATA7_CONN_EMMC0_DATA7		0x21
				IMX8QXP_EMMC0_STROBE_CONN_EMMC0_STROBE		0x41
				IMX8QXP_EMMC0_RESET_B_CONN_EMMC0_RESET_B	0x21
			>;
		};

		pinctrl_usdhc1_200mhz: usdhc1grp200mhz {
			fsl,pins = <
				IMX8QXP_EMMC0_CLK_CONN_EMMC0_CLK		0x06000041
				IMX8QXP_EMMC0_CMD_CONN_EMMC0_CMD		0x21
				IMX8QXP_EMMC0_DATA0_CONN_EMMC0_DATA0		0x21
				IMX8QXP_EMMC0_DATA1_CONN_EMMC0_DATA1		0x21
				IMX8QXP_EMMC0_DATA2_CONN_EMMC0_DATA2		0x21
				IMX8QXP_EMMC0_DATA3_CONN_EMMC0_DATA3		0x21
				IMX8QXP_EMMC0_DATA4_CONN_EMMC0_DATA4		0x21
				IMX8QXP_EMMC0_DATA5_CONN_EMMC0_DATA5		0x21
				IMX8QXP_EMMC0_DATA6_CONN_EMMC0_DATA6		0x21
				IMX8QXP_EMMC0_DATA7_CONN_EMMC0_DATA7		0x21
				IMX8QXP_EMMC0_STROBE_CONN_EMMC0_STROBE		0x41
				IMX8QXP_EMMC0_RESET_B_CONN_EMMC0_RESET_B	0x21
			>;
		};

		/* On-module I2C */
		pinctrl_lpi2c0: i2c0csi0grp {
			fsl,pins = <
				IMX8QXP_MIPI_CSI0_GPIO0_00_ADMA_I2C0_SCL 	0xc6000020	/* MXM3 140 */
				IMX8QXP_MIPI_CSI0_GPIO0_01_ADMA_I2C0_SDA 	0xc6000020	/* MXM3 142 */
			>;
		};

		/* On-module I2S SGTL5000 for Apalis Analogue Audio */
		pinctrl_sai1: sai1grp {
			fsl,pins = <
				IMX8QXP_SAI1_RXD_ADMA_SAI1_RXD			0x06000040
				IMX8QXP_SPI0_CS1_ADMA_SAI1_TXD			0x06000040
				IMX8QXP_SAI1_RXC_ADMA_SAI1_TXC			0x06000040
				IMX8QXP_SAI1_RXFS_ADMA_SAI1_TXFS		0x06000040
			>;
		};

		/* On-module I2S SGTL5000 SYS_MCLK */
		pinctrl_sgtl5000: sgtl5000grp {
			fsl,pins = <
				IMX8QXP_ADC_IN3_ADMA_ACM_MCLK_OUT0		0x21
			>;
		};

		/* On-module RESET_MOCI#_DRV */
		pinctrl_reset_moci: gpioresetmocigrp {
			fsl,pins = <
				IMX8QXP_PCIE_CTRL0_CLKREQ_B_LSIO_GPIO4_IO01	0x11
			>;
		};

		pinctrl_wifi_sclk: wifigrp {
			fsl,pins = <
				IMX8QXP_SCU_BOOT_MODE3_SCU_DSC_RTC_CLOCK_OUTPUT_32K 0x20		/* WiFi Sleep clock */
			>;
		};
	};
};

&ldb1 {
	status = "disabled";

	lvds-channel@0 {
		fsl,data-mapping = "spwg";
		fsl,data-width = <24>;
		status = "okay";

		port@1 {
			reg = <1>;

			lvds0_out: endpoint {
				remote-endpoint = <&panel_lvds_in>;
			};
		};
	};
};

&ldb1_phy {
	status = "disabled";
};

/* Apalis SPI1 */
&lpspi0 {
	#address-cells = <1>;
	#size-cells = <0>;
	fsl,spi-num-chipselects = <1>;
	pinctrl-names = "default";
	pinctrl-0 = <&pinctrl_lpspi0>;
	cs-gpios = <&lsio_gpio1 8 GPIO_ACTIVE_LOW>;
};

/* Apalis SPI2 */
&lpspi2 {
	#address-cells = <1>;
	#size-cells = <0>;
	fsl,spi-num-chipselects = <1>;
	pinctrl-names = "default";
	pinctrl-0 = <&pinctrl_lpspi2>;
	cs-gpios = <&lsio_gpio1 0 GPIO_ACTIVE_LOW>;
};

/* Apalis UART2 */
&lpuart0 {
	pinctrl-names = "default";
	pinctrl-0 = <&pinctrl_lpuart0>;
};

/* Apalis UART1 */
&lpuart1 {
	pinctrl-names = "default";
	pinctrl-0 = <&pinctrl_lpuart1>;
};

/* Apalis UART3 */
&lpuart2 {
	pinctrl-names = "default";
	pinctrl-0 = <&pinctrl_lpuart2>;
};

/* Apalis UART4 */
&lpuart3 {
	pinctrl-names = "default";
	pinctrl-0 = <&pinctrl_lpuart3>;
};

&lsio_gpio0 {
	gpio-line-names = "",
			  "MXM3_293",
			  "MXM3_295",
			  "MXM3_297",
			  "MXM3_299",
			  "MXM3_301",
			  "MXM3_273",
			  "MXM3_275",
			  "MXM3_277",
			  "MXM3_279",
			  "MXM3_281",
			  "MXM3_283",
			  "MXM3_255",
			  "MXM3_257",
			  "MXM3_259",
			  "MXM3_261",
			  "MXM3_247",
			  "",
			  "",
			  "MXM3_245",
			  "MXM3_243",
			  "MXM3_112",
			  "MXM3_118",
			  "",
			  "MXM3_265",
			  "MXM3_196",
			  "MXM3_200",
			  "MXM3_202",
			  "MXM3_204",
			  "MXM3_310",
			  "MXM3_312",
			  "MXM3_318";
};

&lsio_gpio1 {
	gpio-line-names = "MXM3_235",
			  "MXM3_233",
			  "MXM3_231",
			  "MXM3_229",
			  "MXM3_221",
			  "MXM3_223",
			  "MXM3_225",
			  "MXM3_316",
			  "MXM3_227",
			  "MXM3_307",
			  "MXM3_305",
			  "MXM3_194",
			  "",
			  "MXM3_311",
			  "MXM3_309",
			  "MXM3_128",
			  "MXM3_130",
			  "MXM3_12",
			  "MXM3_14",
			  "MXM3_16",
			  "MXM3_18",
			  "MXM3_132",
			  "MXM3_126",
			  "MXM3_134",
			  "MXM3_136",
			  "MXM3_35",
			  "MXM3_37",
			  "MXM3_4",
			  "MXM3_6",
			  "MXM3_207",
			  "MXM3_205",
			  "MXM3_239";
};

&lsio_gpio2 {
	gpio-line-names = "MXM3_8",
			  "",
			  "",
			  "MXM3_140";
};

&lsio_gpio3 {
	gpio-line-names = "MXM3_191",
			  "MXM3_193",
			  "MXM3_203",
			  "MXM3_201",
			  "",
			  "",
			  "",
			  "",
			  "",
			  "MXM3_96",
			  "MXM3_110",
			  "MXM3_114",
			  "MXM3_116",
			  "MXM3_286",
			  "MXM3_158",
			  "MXM3_198",
			  "MXM3_274",
			  "MXM3_11/GPIO5",
			  "MXM3_13/GPIO6",
			  "MXM3_15/GPIO7",
			  "MXM3_17/GPIO8",
			  "MXM3_1/GPIO1",
			  "MXM3_3/GPIO2",
			  "MXM3_5/GPIO3",
			  "MXM3_7/GPIO4";
};

&lsio_gpio4 {
	gpio-line-names = "",
			  "",
			  "",
			  "MXM3_211",
			  "MXM3_84",
			  "MXM3_262",
			  "MXM3_209",
			  "",
			  "",
			  "",
			  "",
			  "",
			  "",
			  "",
			  "",
			  "",
			  "",
			  "",
			  "",
			  "MXM3_152",
			  "MXM3_148",
			  "MXM3_156",
			  "MXM3_164",
			  "MXM3_154",
			  "MXM3_150",
			  "MXM3_160",
			  "MXM3_162",
			  "MXM3_144",
			  "MXM3_146",
			  "MXM3_77",
			  "MXM3_79",
			  "MXM3_65";
};

&lsio_gpio5 {
	gpio-line-names = "MXM3_67",
			  "MXM3_71",
			  "MXM3_73",
			  "MXM3_113",
			  "MXM3_115",
			  "MXM3_119",
			  "MXM3_121",
			  "MXM3_125",
			  "MXM3_127",
			  "MXM3_131",
			  "MXM3_59",
			  "MXM3_61";
};

/* MIPI CSI accessible via type specific diff pair 14-18 on X1 MXM3 edge connector */
&mipi_csi_0 {
	#address-cells = <1>;
	#size-cells = <0>;
	/delete-property/virtual-channel;
};

&mipi0_dsi_host {
	pwr-delay = <10>;
};

&mipi1_dsi_host {
	pwr-delay = <10>;
};

/* Apalis PCIE1 */
&pcieb {
	compatible = "fsl,imx8qxp-pcie","snps,dw-pcie";
	pinctrl-names = "default";
	pinctrl-0 = <&pinctrl_reset_moci>;
	ext_osc = <0>;
	fsl,max-link-speed = <2>;
	reserved-region = <&rpmsg_reserved>;
	reset-gpio = <&lsio_gpio4 1 GPIO_ACTIVE_LOW>;
	vpcie-supply = <&reg_pcie_switch>;
};

/* Apalis PWM2 */
&pwm_mipi_lvds0 {
	pinctrl-names = "default";
	pinctrl-0 = <&pinctrl_pwm_mipi_lvds0>;
	#pwm-cells = <3>;
};

/* Apalis BKL1_PWM */
&pwm_mipi_lvds1 {
	pinctrl-names = "default";
	pinctrl-0 = <&pinctrl_pwm_mipi_lvds1>;
	#pwm-cells = <3>;
};

/* Apalis PWM1 */
&pwm2 {
	pinctrl-names = "default";
	pinctrl-0 = <&pinctrl_pwm2>;
	#pwm-cells = <3>;
};

&rpmsg{
	/*
	 * 64K for one rpmsg instance:
	 */
	vdev-nums = <2>;
	reg = <0x0 0x90000000 0x0 0x20000>;
	memory-region = <&vdevbuffer>;
	status = "okay";
};

/* On-module I2S */
&sai1 {
	#sound-dai-cells = <0>;
	pinctrl-names = "default";
	pinctrl-0 = <&pinctrl_sai1>;
	status = "okay";
};

&thermal_zones {
	pmic-thermal0 {
		polling-delay-passive = <250>;
		polling-delay = <2000>;
		thermal-sensors = <&tsens IMX_SC_R_PMIC_0>;

		trips {
			pmic_alert0: trip0 {
				temperature = <110000>;
				hysteresis = <2000>;
				type = "passive";
			};

			pmic_crit0: trip1 {
				temperature = <125000>;
				hysteresis = <2000>;
				type = "critical";
			};
		};

		cooling-maps {
			map0 {
				trip = <&pmic_alert0>;
				cooling-device =
					<&A35_0 THERMAL_NO_LIMIT THERMAL_NO_LIMIT>,
					<&A35_1 THERMAL_NO_LIMIT THERMAL_NO_LIMIT>,
					<&A35_2 THERMAL_NO_LIMIT THERMAL_NO_LIMIT>,
					<&A35_3 THERMAL_NO_LIMIT THERMAL_NO_LIMIT>;
			};
		};
	};
};

/* Manage on-module USB Wi-Fi */
&usb3phynop1 {
	status = "okay";
};

/*
 * Apalis USB 3.0 Host. Serves USB 3.0 4-port hub on module and
 * Apalis USBH2-4 ports on-board.
 */
&usbotg3 {
	dr_mode = "host";
	status = "okay";
};

/* On-module eMMC */
&usdhc1 {
	bus-width = <8>;
	non-removable;
	pinctrl-names = "default", "state_100mhz", "state_200mhz";
	pinctrl-0 = <&pinctrl_usdhc1>;
	pinctrl-1 = <&pinctrl_usdhc1_100mhz>;
	pinctrl-2 = <&pinctrl_usdhc1_200mhz>;
	status = "okay";
};

/* Apalis MMC1 */
&usdhc2 {
	bus-width = <4>;
	cd-gpios = <&lsio_gpio4 22 GPIO_ACTIVE_LOW>;
	disable-wp;
	pinctrl-names = "default", "state_100mhz", "state_200mhz", "sleep";
	pinctrl-0 = <&pinctrl_usdhc2>, <&pinctrl_usdhc2_gpio>;
	pinctrl-1 = <&pinctrl_usdhc2_100mhz>, <&pinctrl_usdhc2_gpio>;
	pinctrl-2 = <&pinctrl_usdhc2_200mhz>, <&pinctrl_usdhc2_gpio>;
	pinctrl-3 = <&pinctrl_usdhc2_sleep>, <&pinctrl_usdhc2_gpio_sleep>;
	vmmc-supply = <&reg_module_3v3>;
};

&vpu_decoder {
	boot-region = <&decoder_boot>;
	rpc-region = <&decoder_rpc>;
	reg-csr = <0x2d040000>;
	core_type = <1>;
};

&vpu_encoder {
	boot-region = <&encoder_boot>;
	rpc-region = <&encoder_rpc>;
	reserved-region = <&encoder_reserved>;
	reg-rpc-system = <0x40000000>;
	resolution-max = <1920 1920>;
	mbox-names = "enc1_tx0", "enc1_tx1", "enc1_rx";
	mboxes = <&mu1_m0 0 0
		  &mu1_m0 0 1
		  &mu1_m0 1 0>;

	core0@1020000 {
		compatible = "fsl,imx8-mu1-vpu-m0";
		reg = <0x1020000 0x20000>;
		reg-csr = <0x1050000 0x10000>;
		interrupts = <GIC_SPI 470 IRQ_TYPE_LEVEL_HIGH>;
		fsl,vpu_ap_mu_id = <17>;
		fw-buf-size = <0x200000>;
		rpc-buf-size = <0x80000>;
		print-buf-size = <0x80000>;
	};
};
